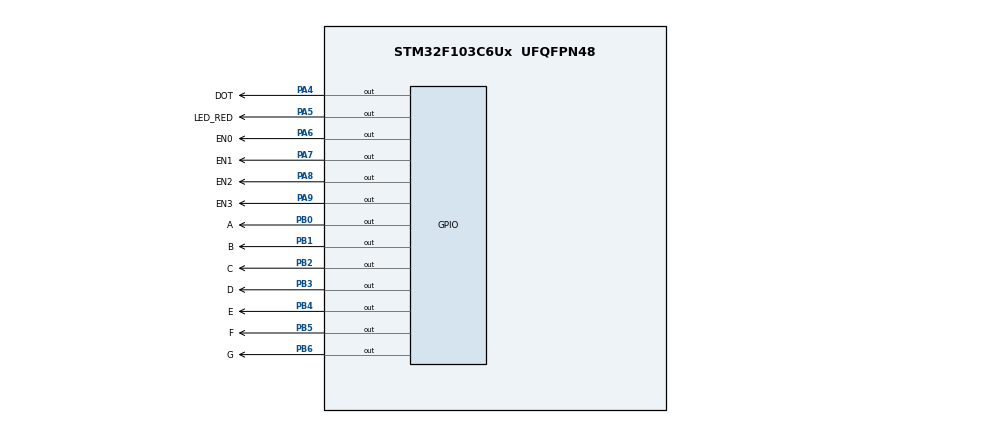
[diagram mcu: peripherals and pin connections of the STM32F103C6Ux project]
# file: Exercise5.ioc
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Mcu.Family=STM32F1
Mcu.Name=STM32F103C6Ux
Mcu.Package=UFQFPN48
NVIC.PriorityGroup=NVIC_PRIORITYGROUP_4
NVIC.TIM2_IRQn=true\:0\:0\:false\:false\:true\:true\:true
PA4.GPIO_Label=DOT
PA4.Signal=GPIO_Output
PA5.GPIO_Label=LED_RED
PA5.Signal=GPIO_Output
PA6.GPIO_Label=EN0
PA6.Signal=GPIO_Output
PA7.GPIO_Label=EN1
PA7.Signal=GPIO_Output
PA8.GPIO_Label=EN2
PA8.Signal=GPIO_Output
PA9.GPIO_Label=EN3
PA9.Signal=GPIO_Output
PB0.GPIO_Label=A
PB0.Signal=GPIO_Output
PB1.GPIO_Label=B
PB1.Signal=GPIO_Output
PB2.GPIO_Label=C
PB2.Signal=GPIO_Output
PB3.GPIO_Label=D
PB3.Signal=GPIO_Output
PB4.GPIO_Label=E
PB4.Signal=GPIO_Output
PB5.GPIO_Label=F
PB5.Signal=GPIO_Output
PB6.GPIO_Label=G
PB6.Signal=GPIO_Output
ProjectManager.HeapSize=0x200
ProjectManager.StackSize=0x400
ProjectManager.TargetToolchain=STM32CubeIDE
RCC.APB1Freq_Value=8000000
RCC.APB2Freq_Value=8000000
TIM2.Period=9
TIM2.Prescaler=7999
VP_SYS_VS_ND.Mode=No_Debug
VP_TIM2_VS_ClockSourceINT.Mode=Internal
board=custom

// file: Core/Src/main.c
/* USER CODE BEGIN Header */
/**
  ******************************************************************************
  * @file           : main.c
  * @brief          : Main program body
  ******************************************************************************
  * @attention
  *
  * <h2><center>&copy; Copyright (c) 2025 STMicroelectronics.
  * All rights reserved.</center></h2>
  *
  * This software component is licensed by ST under BSD 3-Clause license,
  * the "License"; You may not use this file except in compliance with the
  * License. You may obtain a copy of the License at:
  *                        opensource.org/licenses/BSD-3-Clause
  *
  ******************************************************************************
  */
/* USER CODE END Header */
#include "main.h"

/* USER CODE BEGIN Includes */
#include "software.h"
/* USER CODE END Includes */

TIM_HandleTypeDef htim2;

/* USER CODE BEGIN PV */
const int MAX_LED = 4;
int index_led = 0;
int led_buffer[4] = {0,0,0,0};

int hour = 15, minute = 8, second = 50;
/* USER CODE END PV */

void SystemClock_Config(void);
static void MX_GPIO_Init(void);
static void MX_TIM2_Init(void);

uint8_t segmentBinary[10] = {
    0b00111111, // 0
    0b00000110, // 1
    0b01011011, // 2
    0b01001111, // 3
    0b01100110, // 4
    0b01101101, // 5
    0b01111101, // 6
    0b00000111, // 7
    0b01111111, // 8
    0b01101111  // 9
};

void display7SEG(int num) {
	uint8_t display = segmentBinary[num];

	HAL_GPIO_WritePin(A_GPIO_Port, A_Pin, (display & 0b00000001) ? RESET : SET);
	HAL_GPIO_WritePin(B_GPIO_Port, B_Pin, (display & 0b00000010) ? RESET : SET);
	HAL_GPIO_WritePin(C_GPIO_Port, C_Pin, (display & 0b00000100) ? RESET : SET);
	HAL_GPIO_WritePin(D_GPIO_Port, D_Pin, (display & 0b00001000) ? RESET : SET);
	HAL_GPIO_WritePin(E_GPIO_Port, E_Pin, (display & 0b00010000) ? RESET : SET);
	HAL_GPIO_WritePin(F_GPIO_Port, F_Pin, (display & 0b00100000) ? RESET : SET);
	HAL_GPIO_WritePin(G_GPIO_Port, G_Pin, (display & 0b01000000) ? RESET : SET);
}

void enable7SEG(int state) {
	HAL_GPIO_WritePin(EN0_GPIO_Port, EN0_Pin, SET);
	HAL_GPIO_WritePin(EN1_GPIO_Port, EN1_Pin, SET);
	HAL_GPIO_WritePin(EN2_GPIO_Port, EN2_Pin, SET);
	HAL_GPIO_WritePin(EN3_GPIO_Port, EN3_Pin, SET);

	switch (state) {
		case 0: HAL_GPIO_WritePin(EN0_GPIO_Port, EN0_Pin, RESET); break;
		case 1: HAL_GPIO_WritePin(EN1_GPIO_Port, EN1_Pin, RESET); break;
		case 2: HAL_GPIO_WritePin(EN2_GPIO_Port, EN2_Pin, RESET); break;
		case 3: HAL_GPIO_WritePin(EN3_GPIO_Port, EN3_Pin, RESET); break;
		default: break;
	}
}

void update7SEG(int index) {
	switch (index) {
		case 0:
			display7SEG(led_buffer[0]);
			enable7SEG(0);
			break;
		case 1:
			display7SEG(led_buffer[1]);
			enable7SEG(1);
			break;
		case 2:
			display7SEG(led_buffer[2]);
			enable7SEG(2);
			break;
		case 3:
			display7SEG(led_buffer[3]);
			enable7SEG(3);
			break;
		default:
			break;
	}
}

void updateBlockBuffer() {
	led_buffer[0] = hour / 10;
	led_buffer[1] = hour % 10;
	led_buffer[2] = minute / 10;
	led_buffer[3] = minute % 10;
}

int main(void)
{

  /* MCU Configuration--------------------------------------------------------*/

  /* Reset of all peripherals, Initializes the Flash interface and the Systick. */
  HAL_Init();

  /* Configure the system clock */
  SystemClock_Config();

  /* Initialize all configured peripherals */
  MX_GPIO_Init();
  MX_TIM2_Init();
  /* USER CODE BEGIN 2 */
  HAL_TIM_Base_Start_IT(&htim2);
  /* USER CODE END 2 */

  setTimer1(100);
  setTimer2(50);
  setTimer3(100);
  setTimer4(100);

  updateBlockBuffer();

  /* Infinite loop */
  while (1)
  {

  }
}

void SystemClock_Config(void)
{
  RCC_OscInitTypeDef RCC_OscInitStruct = {0};
  RCC_ClkInitTypeDef RCC_ClkInitStruct = {0};

  /** Initializes the RCC Oscillators according to the specified parameters
  * in the RCC_OscInitTypeDef structure.
  */
  RCC_OscInitStruct.OscillatorType = RCC_OSCILLATORTYPE_HSI;
  RCC_OscInitStruct.HSIState = RCC_HSI_ON;
  RCC_OscInitStruct.HSICalibrationValue = RCC_HSICALIBRATION_DEFAULT;
  RCC_OscInitStruct.PLL.PLLState = RCC_PLL_NONE;
  if (HAL_RCC_OscConfig(&RCC_OscInitStruct) != HAL_OK)
  {
    Error_Handler();
  }
  /** Initializes the CPU, AHB and APB buses clocks
  */
  RCC_ClkInitStruct.ClockType = RCC_CLOCKTYPE_HCLK|RCC_CLOCKTYPE_SYSCLK
                              |RCC_CLOCKTYPE_PCLK1|RCC_CLOCKTYPE_PCLK2;
  RCC_ClkInitStruct.SYSCLKSource = RCC_SYSCLKSOURCE_HSI;
  RCC_ClkInitStruct.AHBCLKDivider = RCC_SYSCLK_DIV1;
  RCC_ClkInitStruct.APB1CLKDivider = RCC_HCLK_DIV1;
  RCC_ClkInitStruct.APB2CLKDivider = RCC_HCLK_DIV1;

  if (HAL_RCC_ClockConfig(&RCC_ClkInitStruct, FLASH_LATENCY_0) != HAL_OK)
  {
    Error_Handler();
  }
}

static void MX_TIM2_Init(void)
{

  TIM_ClockConfigTypeDef sClockSourceConfig = {0};
  TIM_MasterConfigTypeDef sMasterConfig = {0};

  htim2.Instance = TIM2;
  htim2.Init.Prescaler = 7999;
  htim2.Init.CounterMode = TIM_COUNTERMODE_UP;
  htim2.Init.Period = 9;
  htim2.Init.ClockDivision = TIM_CLOCKDIVISION_DIV1;
  htim2.Init.AutoReloadPreload = TIM_AUTORELOAD_PRELOAD_DISABLE;
  if (HAL_TIM_Base_Init(&htim2) != HAL_OK)
  {
    Error_Handler();
  }
  sClockSourceConfig.ClockSource = TIM_CLOCKSOURCE_INTERNAL;
  if (HAL_TIM_ConfigClockSource(&htim2, &sClockSourceConfig) != HAL_OK)
  {
    Error_Handler();
  }
  sMasterConfig.MasterOutputTrigger = TIM_TRGO_RESET;
  sMasterConfig.MasterSlaveMode = TIM_MASTERSLAVEMODE_DISABLE;
  if (HAL_TIMEx_MasterConfigSynchronization(&htim2, &sMasterConfig) != HAL_OK)
  {
    Error_Handler();
  }

}

static void MX_GPIO_Init(void)
{
  GPIO_InitTypeDef GPIO_InitStruct = {0};

  /* GPIO Ports Clock Enable */
  __HAL_RCC_GPIOA_CLK_ENABLE();
  __HAL_RCC_GPIOB_CLK_ENABLE();

  /*Configure GPIO pin Output Level */
  HAL_GPIO_WritePin(GPIOA, DOT_Pin|LED_RED_Pin|EN0_Pin|EN1_Pin
                          |EN2_Pin|EN3_Pin, GPIO_PIN_RESET);

  /*Configure GPIO pin Output Level */
  HAL_GPIO_WritePin(GPIOB, A_Pin|B_Pin|C_Pin|D_Pin
                          |E_Pin|F_Pin|G_Pin, GPIO_PIN_RESET);

  /*Configure GPIO pins : DOT_Pin LED_RED_Pin EN0_Pin EN1_Pin
                           EN2_Pin EN3_Pin */
  GPIO_InitStruct.Pin = DOT_Pin|LED_RED_Pin|EN0_Pin|EN1_Pin
                          |EN2_Pin|EN3_Pin;
  GPIO_InitStruct.Mode = GPIO_MODE_OUTPUT_PP;
  GPIO_InitStruct.Pull = GPIO_NOPULL;
  GPIO_InitStruct.Speed = GPIO_SPEED_FREQ_LOW;
  HAL_GPIO_Init(GPIOA, &GPIO_InitStruct);

  /*Configure GPIO pins : A_Pin B_Pin C_Pin D_Pin
                           E_Pin F_Pin G_Pin */
  GPIO_InitStruct.Pin = A_Pin|B_Pin|C_Pin|D_Pin
                          |E_Pin|F_Pin|G_Pin;
  GPIO_InitStruct.Mode = GPIO_MODE_OUTPUT_PP;
  GPIO_InitStruct.Pull = GPIO_NOPULL;
  GPIO_InitStruct.Speed = GPIO_SPEED_FREQ_LOW;
  HAL_GPIO_Init(GPIOB, &GPIO_InitStruct);

}

/* USER CODE BEGIN 4 */
void HAL_TIM_PeriodElapsedCallback(TIM_HandleTypeDef *htim) {
	timerRun();

	if (timer1_flag == 1) {
		setTimer1(100);
		HAL_GPIO_TogglePin(LED_RED_GPIO_Port, LED_RED_Pin);
	}

	if (timer2_flag == 1) {
		setTimer2(50);
		update7SEG(index_led);
		index_led++;
		if (index_led >= MAX_LED) index_led = 0;
	}

	if (timer3_flag == 1) {
		setTimer3(100);
		HAL_GPIO_TogglePin(DOT_GPIO_Port, DOT_Pin);
	}

	if (timer4_flag == 1) {
		setTimer4(100);

		second++;
		if (second >= 60) {
			second = 0;
			minute++;
		}

		if (minute >= 60) {
			minute = 0;
			hour++;
		}

		if (hour >= 24) {
			hour = 0;
		}

		updateBlockBuffer();
	}

}
/* USER CODE END 4 */

void Error_Handler(void)
{
  __disable_irq();
  while (1)
  {
  }
}

/************************ (C) COPYRIGHT STMicroelectronics *****END OF FILE****/
